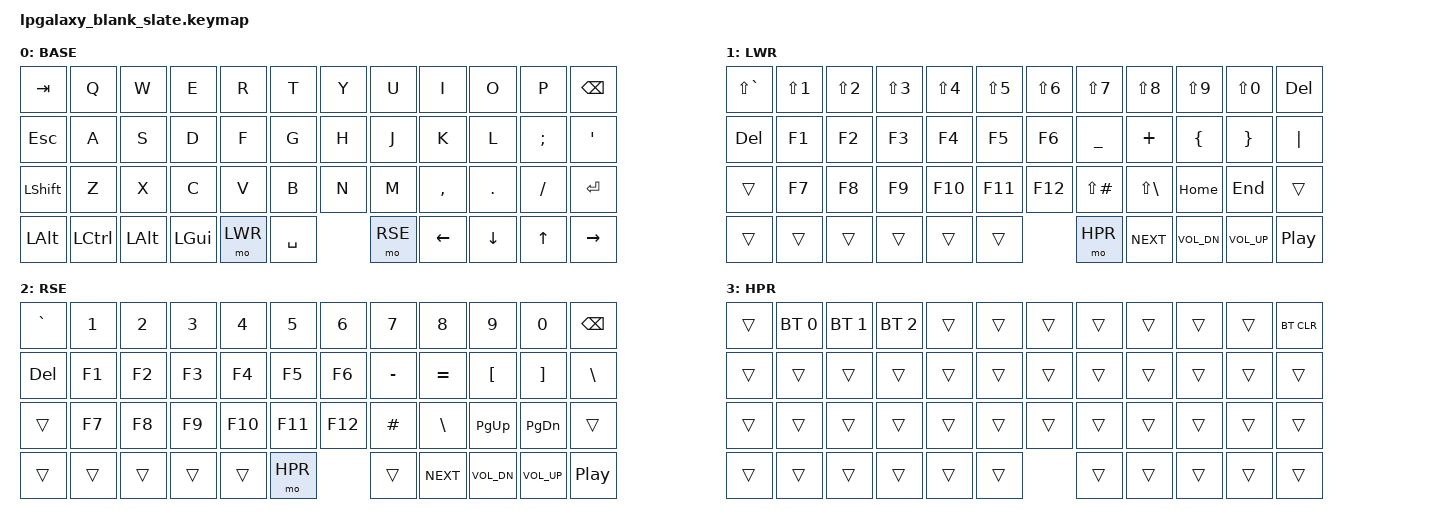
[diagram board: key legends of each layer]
#include <behaviors.dtsi>
#include <dt-bindings/zmk/keys.h>
#include <dt-bindings/zmk/bt.h>
#include <dt-bindings/zmk/outputs.h>

#define BASE 0
#define LWR 1
#define RSE 2
#define HPR 3

#define SK(KEY) &nk KEY KEY
#define MO(LAYER) &mo_tap LAYER F24

// Keep sticky keys active for a long time so they effectively do not time out
#define STICKY_KEY_TIMEOUT 60000

// Using layer taps on thumbs, having quick tap as well helps w/ repeating space/backspace
&lt { quick_tap_ms = <200>; };

#define BT(n) BT_SEL n

/ {
    chosen {
       zmk,physical-layout = &layout_ortho_4x12_1x2u;
    };

    macros {
      ZMK_MACRO(thumbs_up,
		wait-ms = <1>;
		tap-ms = <5>;
        bindings = <&kp PLUS &kp COLON &kp PLUS &kp N1 &kp COLON &kp RET>;
		)
    };

    tap_dances {
    	shifty: shift_caps_word {
            compatible = "zmk,behavior-tap-dance";
            label = "TD_SHIFTY";
            #binding-cells = <0>;
            tapping-term-ms = <150>;
            bindings = <&kp LSHFT>, <&caps_word>;
        };
    };

    behaviors {
        skq: sticky_key_quick_release {
            compatible = "zmk,behavior-sticky-key";
            label = "STICKY_KEY_QUICK_RELEASE";
            #binding-cells = <1>;
            bindings = <&kp>;
            quick-release;
            release-after-ms = <STICKY_KEY_TIMEOUT>;
        };

        // Sticky key on tap, normal key on hold
        // Useful for modifier-clicking without the modifier remaining active
        nk: not_so_sticky_key {
            compatible = "zmk,behavior-hold-tap";
            label = "NOT_SO_STICKY_KEY";
            #binding-cells = <2>;
            tapping_term_ms = <200>;
            flavor = "tap-preferred";
            bindings = <&kp>, <&sk>;
        };

        // A hold-tap that activates without delay (like `&mo`)
        mo_tap: mo_with_tap {
            compatible = "zmk,behavior-hold-tap";
            label = "MO_WITH_TAP";
            #binding-cells = <2>;
            tapping_term_ms = <0>;
            retro-tap;
            flavor = "hold-preferred";
            bindings = <&mo>, <&kp>;
        };
    };

  keymap {
    compatible = "zmk,keymap";

    base_layer {
      label = "BASE";
      bindings = <
          &kp TAB   &kp Q       &kp W       &kp E       &kp R       &kp T   &kp Y    &kp U   &kp I       &kp O       &kp P       &kp BSPC
          &kp ESC   &kp A       &kp S       &kp D       &kp F       &kp G   &kp H    &kp J   &kp K       &kp L       &kp SEMI    &kp SQT
          &kp LSHFT &kp Z       &kp X       &kp C       &kp V       &kp B   &kp N    &kp M   &kp COMMA   &kp DOT     &kp SLASH   &kp RET
          &kp LALT  &kp LCTL    &kp LALT    &kp LGUI    &mo LWR     &kp SPACE       &mo RSE &kp LEFT    &kp DOWN    &kp UP      &kp RIGHT
      >;
    };

    lwr_layer {
      label = "LWR";
      bindings = <
        &kp LS(GRAVE)   &kp LS(N1)  &kp LS(N2)  &kp LS(N3)  &kp LS(N4)  &kp LS(N5)  &kp LS(N6)  &kp LS(N7)      &kp LS(N8)      &kp LS(N9)      &kp LS(N0)      &kp DEL
        &kp DEL         &kp F1      &kp F2      &kp F3      &kp F4      &kp F5      &kp F6      &kp UNDER       &kp PLUS        &kp LBRC        &kp RBRC        &kp PIPE
        &trans          &kp F7      &kp F8      &kp F9      &kp F10     &kp F11     &kp F12     &kp LS(HASH)    &kp LS(BSLH)    &kp HOME        &kp END         &trans
        &trans          &trans      &trans      &trans      &trans      &trans                  &mo HPR          &kp C_NEXT      &kp C_VOL_DN    &kp C_VOL_UP    &kp C_PP
      >;
    };

    rse_layer {
      label = "RSE";
      bindings = <
        &kp GRAVE   &kp N1  &kp N2  &kp N3  &kp N4  &kp N5  &kp N6  &kp N7      &kp N8      &kp N9          &kp N0          &kp BSPC
        &kp DEL     &kp F1  &kp F2  &kp F3  &kp F4  &kp F5  &kp F6  &kp MINUS   &kp EQUAL   &kp LBKT        &kp RBKT        &kp BSLH
        &trans      &kp F7  &kp F8  &kp F9  &kp F10 &kp F11 &kp F12 &kp HASH    &kp BSLH    &kp PG_UP       &kp PG_DN       &trans
        &trans      &trans  &trans  &trans  &trans  &mo HPR  &trans              &kp C_NEXT  &kp C_VOL_DN    &kp C_VOL_UP    &kp C_PP
      >;
    };

    hpr_layer {
      label = "HPR";
      bindings = <
        &trans  &bt BT_SEL 0 &bt BT_SEL 1  &bt BT_SEL 2 &trans &trans &trans &trans &trans  &trans &trans  &bt BT_CLR
        &trans  &trans       &trans        &trans       &trans &trans &trans &trans &trans  &trans &trans  &trans
        &trans  &trans       &trans        &trans       &trans &trans &trans &trans &trans  &trans &trans  &trans
        &trans  &trans       &trans        &trans       &trans        &trans &trans &trans  &trans &trans  &trans
      >;
    };
  };
};
